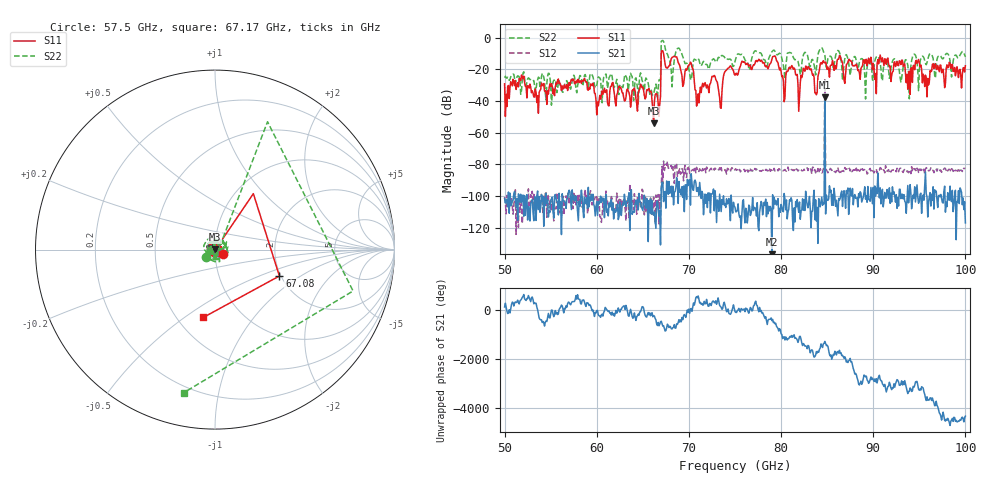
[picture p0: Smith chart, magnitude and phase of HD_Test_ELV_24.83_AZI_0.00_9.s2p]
! 11/25/2026 9:13:45 AM
! C:\ANRITSUVNA\TEMP\TEMP.S2P
! CHANNEL.1
! TR.MEASUREMENT
! RAW.DATA
# HZ S RI R 50.0
! FREQ.HZ  S11RE  S11IM  S21RE  S21IM  S12RE  S12IM  S22RE  S22IM
!; PortSelection: Port_12
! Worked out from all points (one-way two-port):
!   601 points, 50 GHz to 100 GHz, reference 50 ohm
!   highest |S21| = -37.60 dB at 84.75 GHz (marker M1); lowest = -140.0 dB at 79 GHz (marker M2)
!   lowest |S11| = -54.1 dB at 66.17 GHz (marker M3), VSWR 1.00, Z = 50.1 + j0.156 ohm
!   |S11| at or under -10 dB: start of sweep to 67 GHz; 67.24 GHz to end of sweep
!   |S22| runs from -42.7 to -1.8 dB; largest |S21 - S12| = 0.065
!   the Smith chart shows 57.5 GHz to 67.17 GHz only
!   S11 on the Smith chart (normalised r, x): 57.5 GHz: 1.09, -0.05; 67.08 GHz: 1.96, -0.68; 67.17 GHz: 0.67, -0.59
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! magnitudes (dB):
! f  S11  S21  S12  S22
! 50 GHz  -29.2  -101.7  -100.7  -25.3
! 57.5 GHz  -26.2  -99.6  -98.4  -23.7
! 58.42 GHz  -27.2  -100.8  -107.2  -29.0
! 60.17 GHz  -43.1  -103.6  -102.2  -24.8
! 61.67 GHz  -28.7  -109.1  -101.7  -24.5
! 66.17 GHz  -54.1  -112.2  -100.8  -35.3
! 66.67 GHz  -41.9  -107.4  -99.1  -32.1
! 67.08 GHz  -8.2  -91.3  -81.4  -1.9
! 67.17 GHz  -8.3  -91.5  -92.6  -1.8
! 70.17 GHz  -15.5  -105.8  -84.3  -25.7
! 70.92 GHz  -40.7  -97.1  -84.1  -13.3
! 75 GHz  -23.7  -107.1  -83.3  -15.0
! 79 GHz  -13.7  -140.0  -83.9  -8.9
! 80.25 GHz  -27.5  -110.0  -84.1  -17.7
! 83.42 GHz  -23.7  -109.6  -81.9  -13.8
! 83.83 GHz  -36.1  -115.9  -83.9  -19.5
! 84.75 GHz  -15.8  -37.6  -25.7  -10.8
! 91.67 GHz  -16.6  -101.6  -83.4  -20.5
! 93.75 GHz  -32.6  -93.4  -84.4  -17.3
! 94.83 GHz  -15.0  -100.4  -83.1  -20.3
! 95.83 GHz  -37.4  -100.6  -82.4  -15.9
! 100 GHz  -17.7  -117.1  -82.6  -12.2
